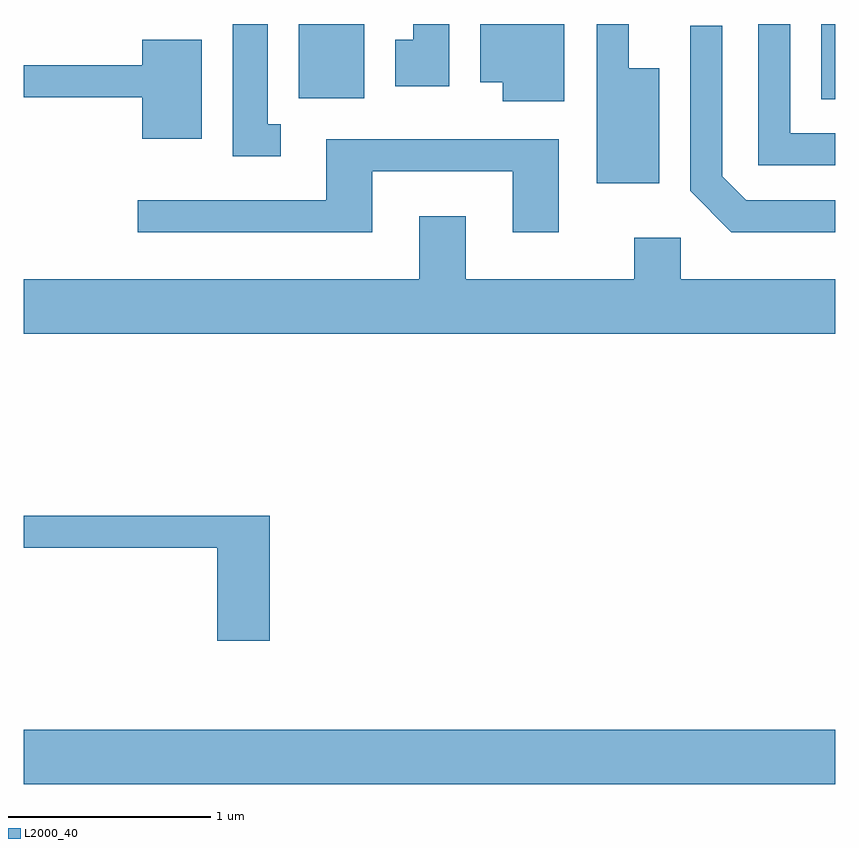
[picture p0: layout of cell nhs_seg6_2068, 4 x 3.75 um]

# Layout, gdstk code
import gdstk
lib = gdstk.Library(unit=1e-6, precision=1e-09)
def R(c, l, rs):  # rectangles x0, y0, x1, y1
    for r in rs: c.add(gdstk.rectangle(r[:2], r[2:], *l))
def P(c, l, *ps):  # polygons
    for p in ps: c.add(gdstk.Polygon(p, *l))
L2000_40 = (2000, 40)

nhs_seg6_2068 = lib.new_cell('nhs_seg6_2068')
R(nhs_seg6_2068, L2000_40, [(247.611,1614.416,251.611,1614.684), (251.541,1617.791,251.611,1618.162), (248.966,1617.796,249.289,1618.162)])
P(nhs_seg6_2068, L2000_40, [(251.611,1617.624),(251.389,1617.624),(251.389,1618.162),(251.231,1618.162),(251.231,1617.466),(251.611,1617.466)],
  [(250.744,1617.944),(250.594,1617.944),(250.594,1618.162),(250.436,1618.162),(250.436,1617.376),(250.744,1617.376)],
  [(248.878,1617.669),(248.814,1617.669),(248.814,1618.162),(248.641,1618.162),(248.641,1617.511),(248.878,1617.511)],
  [(250.274,1618.162),(249.861,1618.162),(249.861,1617.876),(249.971,1617.876),(249.971,1617.781),(250.274,1617.781)],
  [(249.709,1618.162),(249.531,1618.162),(249.531,1618.084),(249.441,1618.084),(249.441,1617.856),(249.709,1617.856)],
  [(251.611,1617.294),(251.172,1617.294),(251.054,1617.412),(251.054,1618.153),(250.896,1618.153),(250.896,1617.339),(251.099,1617.136),(251.611,1617.136)],
  [(248.489,1618.084),(248.196,1618.084),(248.196,1617.959),(247.611,1617.959),(247.611,1617.801),(248.196,1617.801),(248.196,1617.596),(248.489,1617.596)],
  [(249.329,1617.436),(250.021,1617.436),(250.021,1617.136),(250.249,1617.136),(250.249,1617.594),(249.101,1617.594),(249.101,1617.294),(248.173,1617.294),(248.173,1617.136),(249.329,1617.136)],
  [(251.611,1616.904),(250.849,1616.904),(250.849,1617.109),(250.621,1617.109),(250.621,1616.904),(249.789,1616.904),(249.789,1617.214),(249.561,1617.214),(249.561,1616.904),(247.611,1616.904),(247.611,1616.636),(251.611,1616.636)],
  [(248.824,1615.739),(247.611,1615.739),(247.611,1615.581),(248.566,1615.581),(248.566,1615.121),(248.824,1615.121)])

lib.write_gds('nhs_seg6_2068.gds')
